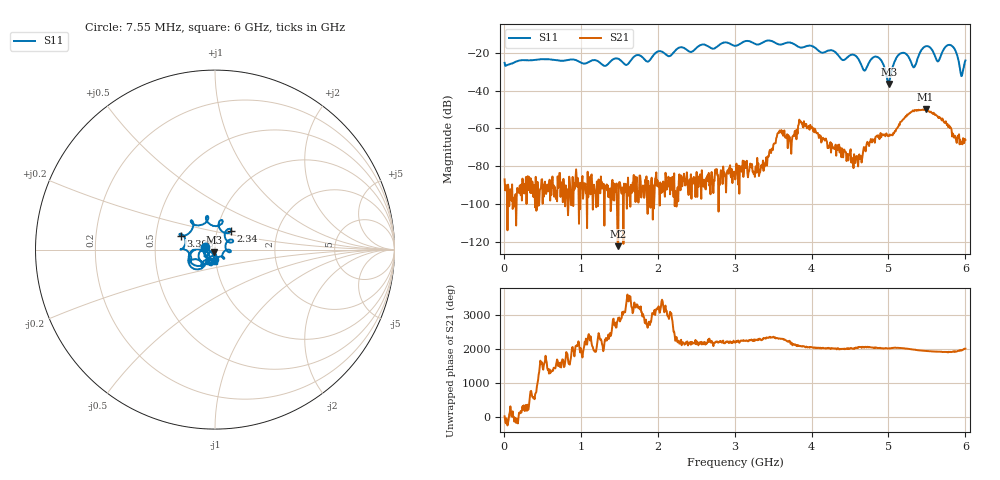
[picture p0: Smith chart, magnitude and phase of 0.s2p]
! NanoVNA-App by OneOfEleven et al v1.1.209 (+OD15)
! Date: 2024-07-30 12:38:45
! Start: 50kHz Stop: 6GHz Points: 801
! S-Parameter data: F S11 S21 S12 S22
# Hz S RI R 50
!  Frequency  S11_Real  S11_Imag  S21_Real  S21_Imag  S12_Real  S12_Imag  S22_Real  S22_Imag
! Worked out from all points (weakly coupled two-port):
!   800 points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, 7.55 MHz to 6 GHz, reference 50 ohm
!   highest |S21| = -49.80 dB at 5.483 GHz (marker M1); lowest = -122.4 dB at 1.478 GHz (marker M2)
!   lowest |S11| = -36.3 dB at 5.003 GHz (marker M3), VSWR 1.03, Z = 49.4 - j1.42 ohm
!   |S11| at or under -10 dB: start of sweep to end of sweep
!   S12 and S22 are empty: the file has one direction only
!   S11 on the Smith chart (normalised r, x): 7.55 MHz: 0.90, +0.03; 2.34 GHz: 1.17, +0.25; 3.398 GHz: 0.67, +0.11; 6 GHz: 0.98, -0.12
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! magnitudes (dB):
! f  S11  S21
! 7.55 MHz  -25.2  -87.0
! 1.013 GHz  -25.3  -87.7
! 1.478 GHz  -22.9  -122.4
! 2.01 GHz  -19.0  -91.1
! 2.34 GHz  -17.3  -84.0
! 3.008 GHz  -16.2  -87.0
! 3.398 GHz  -13.7  -78.0
! 3.578 GHz  -15.4  -62.3
! 3.72 GHz  -14.4  -66.7
! 3.855 GHz  -17.1  -56.6
! 4.005 GHz  -16.2  -59.1
! 4.545 GHz  -20.9  -81.0
! 4.688 GHz  -29.3  -70.7
! 4.868 GHz  -22.3  -63.6
! 5.003 GHz  -36.3  -63.7
! 5.138 GHz  -20.7  -57.7
! 5.333 GHz  -27.5  -50.9
! 5.483 GHz  -16.4  -49.8
! 5.64 GHz  -24.4  -53.6
! 5.805 GHz  -15.7  -59.4
! 5.948 GHz  -32.2  -67.5
! 6 GHz  -23.9  -66.0
